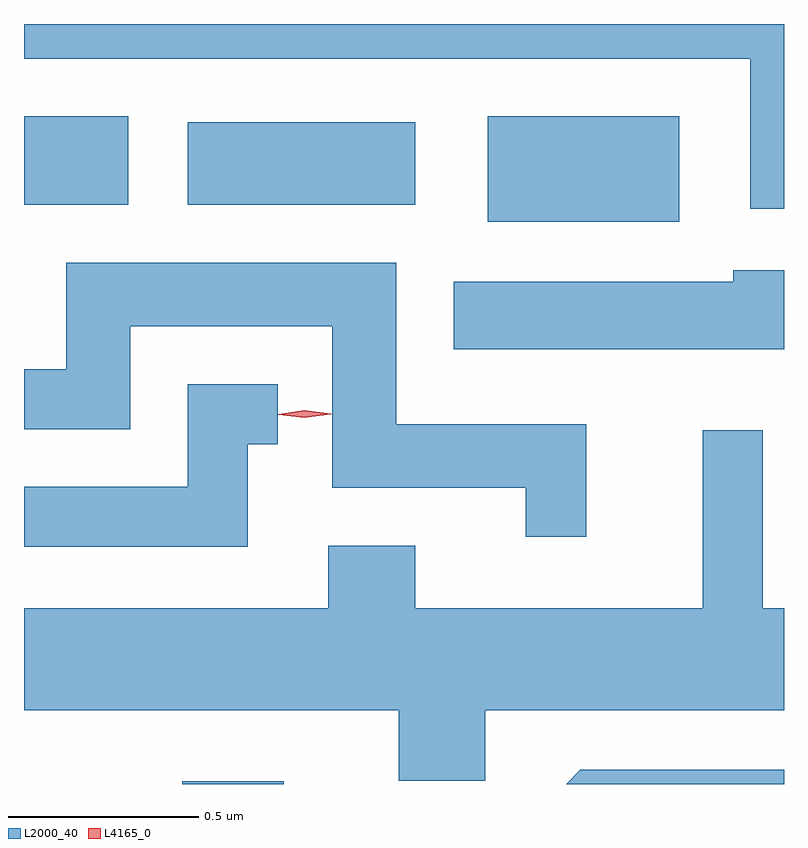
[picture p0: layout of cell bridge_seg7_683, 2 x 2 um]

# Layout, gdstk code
import gdstk
lib = gdstk.Library(unit=1e-6, precision=1e-09)
def R(c, l, rs):  # rectangles x0, y0, x1, y1
    for r in rs: c.add(gdstk.rectangle(r[:2], r[2:], *l))
def P(c, l, *ps):  # polygons
    for p in ps: c.add(gdstk.Polygon(p, *l))
L2000_40 = (2000, 40)
L4165_0 = (4165, 0)

bridge_seg7_683 = lib.new_cell('bridge_seg7_683')
R(bridge_seg7_683, L2000_40, [(830.236,1709.682,830.504,1709.689), (831.041,1711.161,831.544,1711.439), (829.82,1711.206,830.094,1711.439), (830.251,1711.206,830.849,1711.424)])
P(bridge_seg7_683, L2000_40, [(831.82,1711.682),(829.82,1711.682),(829.82,1711.591),(831.731,1711.591),(831.731,1711.196),(831.82,1711.196)],
  [(831.299,1710.629),(830.799,1710.629),(830.799,1711.054),(829.931,1711.054),(829.931,1710.774),(829.82,1710.774),(829.82,1710.616),(830.099,1710.616),(830.099,1710.886),(830.631,1710.886),(830.631,1710.461),(831.141,1710.461),(831.141,1710.333),(831.299,1710.333)],
  [(831.82,1711.034),(831.686,1711.034),(831.686,1711.004),(830.951,1711.004),(830.951,1710.826),(831.82,1710.826)],
  [(830.409,1710.576),(830.488,1710.576),(830.488,1710.734),(830.251,1710.734),(830.251,1710.464),(829.82,1710.464),(829.82,1710.306),(830.409,1710.306)],
  [(831.034,1709.876),(831.82,1709.876),(831.82,1710.144),(831.764,1710.144),(831.764,1710.613),(831.606,1710.613),(831.606,1710.144),(830.849,1710.144),(830.849,1710.309),(830.621,1710.309),(830.621,1710.144),(829.82,1710.144),(829.82,1709.876),(830.806,1709.876),(830.806,1709.691),(831.034,1709.691)],
  [(831.82,1709.719),(831.284,1709.719),(831.247,1709.682),(831.82,1709.682)])
P(bridge_seg7_683, L4165_0, [(830.558,1710.646),(830.489,1710.654),(830.489,1710.655),(830.489,1710.655),(830.558,1710.665),(830.628,1710.656),(830.628,1710.656),(830.628,1710.655)])

lib.write_gds('bridge_seg7_683.gds')
